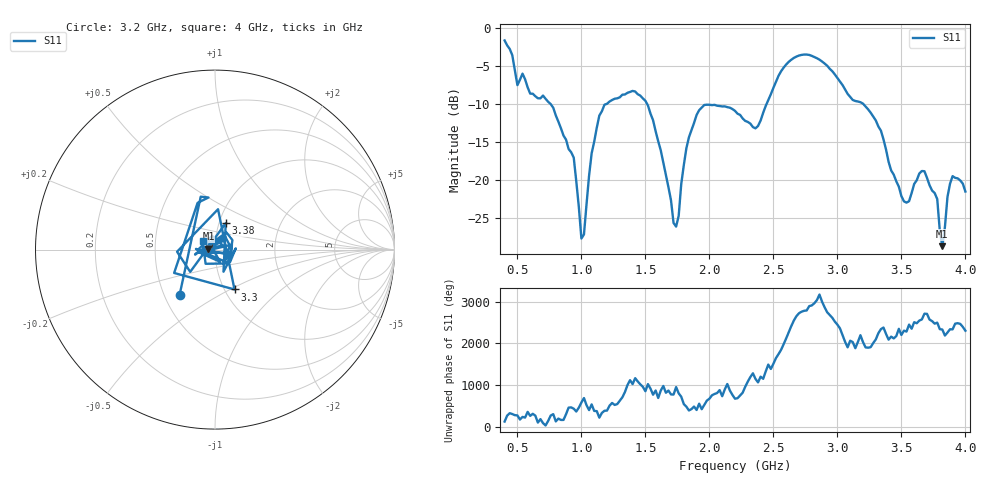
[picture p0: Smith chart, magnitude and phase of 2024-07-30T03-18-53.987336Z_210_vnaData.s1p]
!Created with skrf (http://scikit-rf.org).
# Hz S RI R 50.0
!freq ReS11 ImS11
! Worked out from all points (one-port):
!   181 points, 400 MHz to 4 GHz, reference 50 ohm
!   lowest |S11| = -28.7 dB at 3.82 GHz (marker M1), VSWR 1.08, Z = 46.5 + j0.447 ohm
!   |S11| at or under -10 dB: 760.8 MHz to 1.191 GHz (430.5 MHz wide, 44.1 % of centre); 1.514 GHz to 2.446 GHz (931.6 MHz wide, 47 % of centre); 3.204 GHz to end of sweep
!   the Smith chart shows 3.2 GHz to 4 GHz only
!   S11 on the Smith chart (normalised r, x): 3.2 GHz: 0.60, -0.34; 3.3 GHz: 1.11, -0.53; 3.38 GHz: 1.08, +0.33; 4 GHz: 0.87, +0.08
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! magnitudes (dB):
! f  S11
! 400 MHz  -1.6
! 500 MHz  -7.5
! 700 MHz  -8.9
! 860 MHz  -14.1
! 940 MHz  -17.0
! 1 GHz  -27.7
! 1.08 GHz  -16.5
! 1.14 GHz  -11.5
! 1.3 GHz  -9.1
! 1.52 GHz  -10.2
! 1.72 GHz  -25.6
! 1.76 GHz  -24.7
! 1.82 GHz  -15.8
! 1.9 GHz  -11.4
! 2.2 GHz  -10.9
! 2.36 GHz  -13.2
! 2.66 GHz  -3.9
! 2.86 GHz  -4.1
! 3.1 GHz  -9.0
! 3.2 GHz  -9.9
! 3.3 GHz  -12.1
! 3.38 GHz  -16.0
! 3.56 GHz  -22.8
! 3.68 GHz  -18.8
! 3.78 GHz  -22.5
! 3.82 GHz  -28.7
! 3.9 GHz  -19.5
! 4 GHz  -21.5
